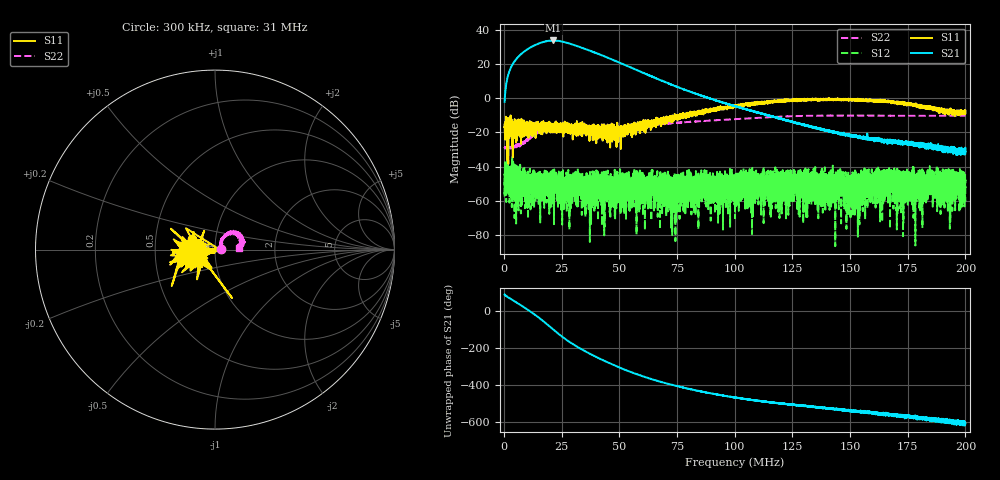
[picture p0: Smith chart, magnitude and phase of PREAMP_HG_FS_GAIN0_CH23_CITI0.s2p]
# Hz S DB R 50
! CMT, M5065, 19127446, 24.2.4/2
! Date: 9/20/2024 3:26:26 PM
! Data: Format (Calibration Info)
! Freq	S11:dB/Ang(F2)	S21:dB/Ang(F2)	S12:dB/Ang(F2)	S22:dB/Ang(F2)
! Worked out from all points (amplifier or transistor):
!   7000 points, 300 kHz to 200 MHz, reference 50 ohm
!   highest |S21| = 33.7 dB at 21.41 MHz (marker M1)
!   |S21| within 3 dB of that: 13.07 MHz to 31.06 MHz (17.99 MHz wide, 81.5 % of centre)
!   unconditionally stable (mu >= 1): start of sweep to end of sweep
!   at 33.57 MHz: K = 13.49, MAG = 29.6 dB, |S12| = -58.4 dB
!   at 100.2 MHz: K = 1614.70, MAG = -2.4 dB, |S12| = -70.1 dB
!   at 200 MHz: K = 14052.87, MAG = -29.8 dB, |S12| = -60.5 dB
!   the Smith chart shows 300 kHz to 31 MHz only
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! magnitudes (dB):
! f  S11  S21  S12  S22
! 300 kHz  -17.1  -2.2  -57.5  -29.1
! 1.384 MHz  -34.9  11.1  -47.4  -29.3
! 3.011 MHz  -19.5  17.8  -52.2  -28.7
! 5.892 MHz  -16.1  23.7  -52.7  -27.5
! 10 MHz  -16.4  28.4  -45.6  -24.2
! 21.41 MHz  -16.0  33.7  -50.9  -15.9
! 33.6 MHz  -17.7  29.5  -48.9  -17.8
! 51.09 MHz  -18.7  20.2  -56.4  -17.5
! 66.87 MHz  -12.9  11.0  -53.1  -15.3
! 100.2 MHz  -4.2  -4.7  -70.1  -12.3
! 119.4 MHz  -1.7  -11.6  -70.1  -10.8
! 120.7 MHz  -1.3  -12.3  -45.7  -10.8
! 133.5 MHz  -0.7  -16.9  -55.9  -10.3
! 166.7 MHz  -1.8  -24.4  -48.1  -10.3
! 172.5 MHz  -2.8  -26.2  -48.6  -10.3
! 175 MHz  -3.7  -25.9  -48.4  -10.3
! 178.5 MHz  -3.8  -26.2  -49.9  -10.3
! 184.8 MHz  -5.3  -29.2  -54.0  -10.3
! 191.5 MHz  -7.6  -28.8  -58.5  -10.3
! 196.3 MHz  -7.6  -29.9  -49.1  -10.2
! 199 MHz  -8.1  -32.7  -52.6  -10.2
! 200 MHz  -7.3  -31.2  -60.5  -10.2
